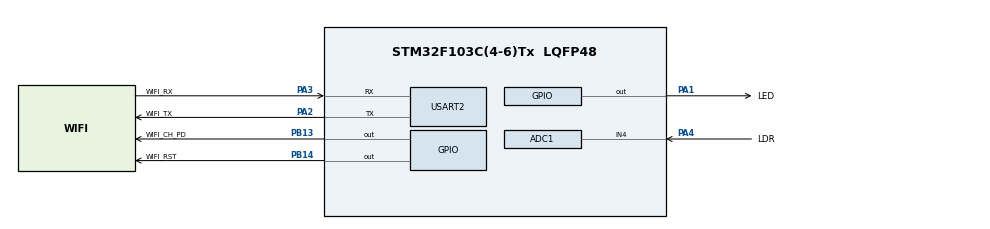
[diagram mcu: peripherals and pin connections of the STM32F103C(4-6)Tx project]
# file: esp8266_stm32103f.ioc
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ADC1.Channel-53\#ChannelRegularConversion=ADC_CHANNEL_4
ADC1.ContinuousConvMode=ENABLE
ADC1.NbrOfConversionFlag=1
ADC1.Rank-53\#ChannelRegularConversion=1
ADC1.SamplingTime-53\#ChannelRegularConversion=ADC_SAMPLETIME_1CYCLE_5
ADC1.master=1
Mcu.Family=STM32F1
Mcu.Name=STM32F103C(4-6)Tx
Mcu.Package=LQFP48
NVIC.PriorityGroup=NVIC_PRIORITYGROUP_4
NVIC.USART2_IRQn=true\:0\:0\:false\:false\:true\:true
PA1.GPIO_Label=LED
PA1.Signal=GPIO_Output
PA13.Mode=JTAG_5_pins
PA13.Signal=SYS_JTMS-SWDIO
PA14.Mode=JTAG_5_pins
PA14.Signal=SYS_JTCK-SWCLK
PA15.Mode=JTAG_5_pins
PA15.Signal=SYS_JTDI
PA2.GPIO_Label=WIFI_TX
PA2.Mode=Asynchronous
PA2.Signal=USART2_TX
PA3.GPIO_Label=WIFI_RX
PA3.Mode=Asynchronous
PA3.Signal=USART2_RX
PA4.GPIO_Label=LDR
PA4.Signal=ADCx_IN4
PB13.GPIO_Label=WIFI_CH_PD
PB13.Signal=GPIO_Output
PB14.GPIO_Label=WIFI_RST
PB14.Signal=GPIO_Output
PB3.Mode=JTAG_5_pins
PB3.Signal=SYS_JTDO-TRACESWO
PB4.Mode=JTAG_5_pins
PB4.Signal=SYS_NJTRST
PD0-OSC_IN.Mode=HSE-External-Oscillator
PD0-OSC_IN.Signal=RCC_OSC_IN
PD1-OSC_OUT.Mode=HSE-External-Oscillator
PD1-OSC_OUT.Signal=RCC_OSC_OUT
ProjectManager.HeapSize=0x200
ProjectManager.StackSize=0x400
ProjectManager.TargetToolchain=SW4STM32
RCC.APB1Freq_Value=8000000
RCC.APB2Freq_Value=8000000
SH.ADCx_IN4.0=ADC1_IN4,IN4
USART2.VirtualMode=VM_ASYNC
board=esp8266_stm32103f

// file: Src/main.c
/**
  ******************************************************************************
  * @file           : main.c
  * @brief          : Main program body
  ******************************************************************************
  ** This notice applies to any and all portions of this file
  * that are not between comment pairs USER CODE BEGIN and
  * USER CODE END. Other portions of this file, whether
  * inserted by the user or by software development tools
  * are owned by their respective copyright owners.
  *
  * COPYRIGHT(c) 2018 STMicroelectronics
  *
  * Redistribution and use in source and binary forms, with or without modification,
  * are permitted provided that the following conditions are met:
  *   1. Redistributions of source code must retain the above copyright notice,
  *      this list of conditions and the following disclaimer.
  *   2. Redistributions in binary form must reproduce the above copyright notice,
  *      this list of conditions and the following disclaimer in the documentation
  *      and/or other materials provided with the distribution.
  *   3. Neither the name of STMicroelectronics nor the names of its contributors
  *      may be used to endorse or promote products derived from this software
  *      without specific prior written permission.
  *
  * THIS SOFTWARE IS PROVIDED BY THE COPYRIGHT HOLDERS AND CONTRIBUTORS "AS IS"
  * AND ANY EXPRESS OR IMPLIED WARRANTIES, INCLUDING, BUT NOT LIMITED TO, THE
  * IMPLIED WARRANTIES OF MERCHANTABILITY AND FITNESS FOR A PARTICULAR PURPOSE ARE
  * DISCLAIMED. IN NO EVENT SHALL THE COPYRIGHT HOLDER OR CONTRIBUTORS BE LIABLE
  * FOR ANY DIRECT, INDIRECT, INCIDENTAL, SPECIAL, EXEMPLARY, OR CONSEQUENTIAL
  * DAMAGES (INCLUDING, BUT NOT LIMITED TO, PROCUREMENT OF SUBSTITUTE GOODS OR
  * SERVICES; LOSS OF USE, DATA, OR PROFITS; OR BUSINESS INTERRUPTION) HOWEVER
  * CAUSED AND ON ANY THEORY OF LIABILITY, WHETHER IN CONTRACT, STRICT LIABILITY,
  * OR TORT (INCLUDING NEGLIGENCE OR OTHERWISE) ARISING IN ANY WAY OUT OF THE USE
  * OF THIS SOFTWARE, EVEN IF ADVISED OF THE POSSIBILITY OF SUCH DAMAGE.
  *
  ******************************************************************************
  */
#include "main.h"
#include "stm32f1xx_hal.h"
#include "adc.h"
#include "usart.h"
#include "gpio.h"

/* USER CODE BEGIN Includes */
#include "esp8266.h"
#include "esp8266_ll.h"
#include "dweet.h"
#include <string.h>
/* USER CODE END Includes */

/* USER CODE BEGIN PV */
/* Private variables ---------------------------------------------------------*/

/* USER CODE END PV */

void SystemClock_Config(void);

/* USER CODE BEGIN PFP */
/* Private function prototypes -----------------------------------------------*/

/* USER CODE END PFP */

int main(void)
{

  /* MCU Configuration----------------------------------------------------------*/

  /* Reset of all peripherals, Initializes the Flash interface and the Systick. */
  HAL_Init();

  /* Configure the system clock */
  SystemClock_Config();

  /* Initialize all configured peripherals */
  MX_GPIO_Init();
  MX_USART2_UART_Init();
  MX_ADC1_Init();
  /* USER CODE BEGIN 2 */
  esp8266_reset_hw();
  while(!ESP8266_Begin());
  ESP8266_WIFIMode(STATION);
  ESP8266_ConnectionMode(SINGLE);			/* 0 = Single; 1 = Multi */
  ESP8266_ApplicationMode(NORMAL);			/* 0 = Normal Mode; 1 = Transperant Mode */
  uint32_t ldr_value =0;
  bool LED = false;
  HAL_ADC_Start (&hadc1);

  /* USER CODE END 2 */

  /* Infinite loop */
  /* USER CODE BEGIN WHILE */
  ESP8266_JoinAccessPoint(SSID, PASSWORD);
  char lrdvalue[300];
  while (1)
  {

  /* USER CODE END WHILE */

  /* USER CODE BEGIN 3 */
	  memset(lrdvalue, 0, 300);
      HAL_ADC_PollForConversion (&hadc1, 1000);
      ldr_value = HAL_ADC_GetValue (&hadc1);
      if ( ldr_value < 1500){
    	  HAL_GPIO_WritePin(LED_GPIO_Port,LED_Pin,GPIO_PIN_SET);

      }
      else {
    	  HAL_GPIO_WritePin(LED_GPIO_Port,LED_Pin,GPIO_PIN_RESET);
      }
      LED = HAL_GPIO_ReadPin(LED_GPIO_Port,LED_Pin);
      sprintf(lrdvalue, "{\"ldr\":\"%lu\",\"led\":\"%d\"}",ldr_value,LED);
	  dweetsend("caio1234",lrdvalue);
	  //dweetget("caio1234");
	  //HAL_Delay(100);

  }
  /* USER CODE END 3 */

}

void SystemClock_Config(void)
{

  RCC_OscInitTypeDef RCC_OscInitStruct;
  RCC_ClkInitTypeDef RCC_ClkInitStruct;
  RCC_PeriphCLKInitTypeDef PeriphClkInit;

    /**Initializes the CPU, AHB and APB busses clocks
    */
  RCC_OscInitStruct.OscillatorType = RCC_OSCILLATORTYPE_HSI;
  RCC_OscInitStruct.HSIState = RCC_HSI_ON;
  RCC_OscInitStruct.HSICalibrationValue = 16;
  RCC_OscInitStruct.PLL.PLLState = RCC_PLL_NONE;
  if (HAL_RCC_OscConfig(&RCC_OscInitStruct) != HAL_OK)
  {
    _Error_Handler(__FILE__, __LINE__);
  }

    /**Initializes the CPU, AHB and APB busses clocks
    */
  RCC_ClkInitStruct.ClockType = RCC_CLOCKTYPE_HCLK|RCC_CLOCKTYPE_SYSCLK
                              |RCC_CLOCKTYPE_PCLK1|RCC_CLOCKTYPE_PCLK2;
  RCC_ClkInitStruct.SYSCLKSource = RCC_SYSCLKSOURCE_HSI;
  RCC_ClkInitStruct.AHBCLKDivider = RCC_SYSCLK_DIV1;
  RCC_ClkInitStruct.APB1CLKDivider = RCC_HCLK_DIV1;
  RCC_ClkInitStruct.APB2CLKDivider = RCC_HCLK_DIV1;

  if (HAL_RCC_ClockConfig(&RCC_ClkInitStruct, FLASH_LATENCY_0) != HAL_OK)
  {
    _Error_Handler(__FILE__, __LINE__);
  }

  PeriphClkInit.PeriphClockSelection = RCC_PERIPHCLK_ADC;
  PeriphClkInit.AdcClockSelection = RCC_ADCPCLK2_DIV2;
  if (HAL_RCCEx_PeriphCLKConfig(&PeriphClkInit) != HAL_OK)
  {
    _Error_Handler(__FILE__, __LINE__);
  }

    /**Configure the Systick interrupt time
    */
  HAL_SYSTICK_Config(HAL_RCC_GetHCLKFreq()/1000);

    /**Configure the Systick
    */
  HAL_SYSTICK_CLKSourceConfig(SYSTICK_CLKSOURCE_HCLK);

  /* SysTick_IRQn interrupt configuration */
  HAL_NVIC_SetPriority(SysTick_IRQn, 0, 0);
}

void _Error_Handler(char *file, int line)
{
  while(1)
  {
  }
}

/************************ (C) COPYRIGHT STMicroelectronics *****END OF FILE****/
